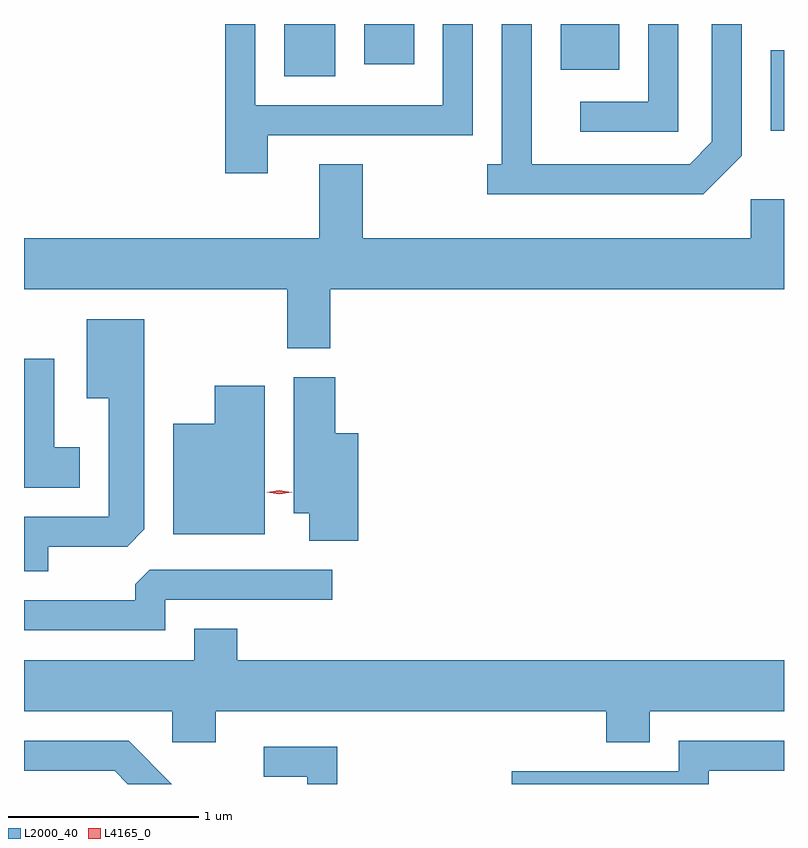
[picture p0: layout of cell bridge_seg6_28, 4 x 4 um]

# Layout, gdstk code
import gdstk
lib = gdstk.Library(unit=1e-6, precision=1e-09)
def R(c, l, rs):  # rectangles x0, y0, x1, y1
    for r in rs: c.add(gdstk.rectangle(r[:2], r[2:], *l))
def P(c, l, *ps):  # polygons
    for p in ps: c.add(gdstk.Polygon(p, *l))
L2000_40 = (2000, 40)
L4165_0 = (4165, 0)

bridge_seg6_28 = lib.new_cell('bridge_seg6_28')
R(bridge_seg6_28, L2000_40, [(1825.806,1648.551,1825.876,1648.974), (1823.246,1648.836,1823.514,1649.112), (1824.701,1648.871,1825.009,1649.112), (1823.666,1648.901,1823.929,1649.112)])
P(bridge_seg6_28, L2000_40, [(1823.159,1648.526),(1824.239,1648.526),(1824.239,1649.112),(1824.081,1649.112),(1824.081,1648.684),(1823.094,1648.684),(1823.094,1649.112),(1822.936,1649.112),(1822.936,1648.326),(1823.159,1648.326)],
  [(1825.654,1648.419),(1825.654,1649.112),(1825.496,1649.112),(1825.496,1648.492),(1825.379,1648.374),(1824.549,1648.374),(1824.549,1649.112),(1824.391,1649.112),(1824.391,1648.374),(1824.313,1648.374),(1824.313,1648.216),(1825.452,1648.216)],
  [(1825.319,1649.112),(1825.161,1649.112),(1825.161,1648.704),(1824.803,1648.704),(1824.803,1648.546),(1825.319,1648.546)],
  [(1823.489,1647.716),(1825.876,1647.716),(1825.876,1648.189),(1825.701,1648.189),(1825.701,1647.984),(1823.659,1647.984),(1823.659,1648.374),(1823.431,1648.374),(1823.431,1647.984),(1821.876,1647.984),(1821.876,1647.716),(1823.261,1647.716),(1823.261,1647.406),(1823.489,1647.406)],
  [(1822.004,1646.361),(1822.419,1646.361),(1822.509,1646.452),(1822.509,1647.559),(1822.206,1647.559),(1822.206,1647.141),(1822.321,1647.141),(1822.321,1646.519),(1821.876,1646.519),(1821.876,1646.231),(1822.004,1646.231)],
  [(1822.169,1646.884),(1822.034,1646.884),(1822.034,1647.349),(1821.876,1647.349),(1821.876,1646.671),(1822.169,1646.671)],
  [(1823.634,1646.959),(1823.514,1646.959),(1823.514,1647.254),(1823.296,1647.254),(1823.296,1646.536),(1823.376,1646.536),(1823.376,1646.391),(1823.634,1646.391)],
  [(1823.144,1647.209),(1822.881,1647.209),(1822.881,1647.009),(1822.661,1647.009),(1822.661,1646.426),(1823.144,1646.426)],
  [(1822.619,1646.081),(1823.498,1646.081),(1823.498,1646.239),(1822.537,1646.239),(1822.461,1646.164),(1822.461,1646.079),(1821.876,1646.079),(1821.876,1645.921),(1822.619,1645.921)],
  [(1822.884,1645.496),(1824.941,1645.496),(1824.941,1645.331),(1825.169,1645.331),(1825.169,1645.496),(1825.876,1645.496),(1825.876,1645.764),(1822.999,1645.764),(1822.999,1645.929),(1822.771,1645.929),(1822.771,1645.764),(1821.876,1645.764),(1821.876,1645.496),(1822.656,1645.496),(1822.656,1645.331),(1822.884,1645.331)],
  [(1822.427,1645.339),(1821.876,1645.339),(1821.876,1645.181),(1822.354,1645.181),(1822.423,1645.112),(1822.654,1645.112)],
  [(1825.479,1645.181),(1825.876,1645.181),(1825.876,1645.339),(1825.321,1645.339),(1825.321,1645.179),(1824.443,1645.179),(1824.443,1645.112),(1825.479,1645.112)],
  [(1823.524,1645.309),(1823.138,1645.309),(1823.138,1645.151),(1823.366,1645.151),(1823.366,1645.112),(1823.524,1645.112)])
P(bridge_seg6_28, L4165_0, [(1823.22,1646.637),(1823.154,1646.647),(1823.154,1646.647),(1823.154,1646.648),(1823.22,1646.657),(1823.286,1646.648),(1823.287,1646.647),(1823.286,1646.647)])

lib.write_gds('bridge_seg6_28.gds')
